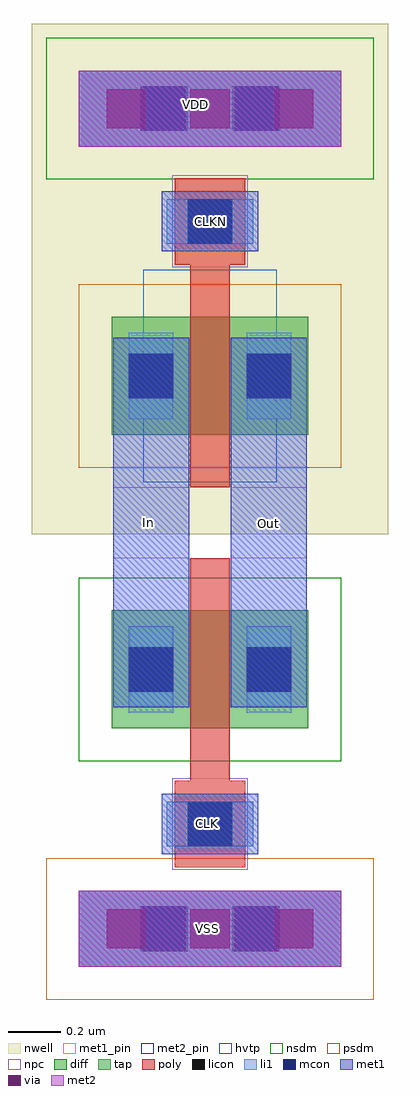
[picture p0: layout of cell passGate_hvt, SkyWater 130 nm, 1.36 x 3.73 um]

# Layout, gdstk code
import gdstk
lib = gdstk.Library(unit=1e-6, precision=1e-09)
def R(c, l, rs):  # rectangles x0, y0, x1, y1
    for r in rs: c.add(gdstk.rectangle(r[:2], r[2:], *l))
def A(c, l, x, y, w, h, nx, ny, dx, dy):  # array of equal rectangles
    R(c, l, [(x+i*dx, y+j*dy, x+i*dx+w, y+j*dy+h) for i in range(nx) for j in range(ny)])
nwell = (64, 20)
diff = (65, 20)
tap = (65, 44)
poly = (66, 20)
licon = (66, 44)
li1 = (67, 20)
mcon = (67, 44)
met1_pin = (68, 16)
met1 = (68, 20)
via = (68, 44)
met2_pin = (69, 16)
met2 = (69, 20)
hvtp = (78, 44)
nsdm = (93, 44)
psdm = (94, 20)
npc = (95, 20)

nfet = lib.new_cell('nfet')
R(nfet, diff, [(0,0,0.75,0.45)])
R(nfet, poly, [(0.24,-0.53,0.51,-0.2), (0.3,-0.2,0.45,0.65)])
R(nfet, licon, [(0.29,-0.45,0.46,-0.28), (0.065,0.14,0.235,0.31), (0.515,0.14,0.685,0.31)])
R(nfet, li1, [(0.21,-0.45,0.54,-0.28), (0.065,0.06,0.235,0.39), (0.515,0.06,0.685,0.39)])
R(nfet, mcon, [(0.29,-0.45,0.46,-0.28), (0.065,0.14,0.235,0.31), (0.515,0.14,0.685,0.31)])
R(nfet, met1, [(0.19,-0.48,0.56,-0.25), (0.005,0.08,0.295,0.37), (0.455,0.08,0.745,0.37)])
R(nfet, nsdm, [(-0.125,-0.125,0.875,0.575)])
R(nfet, npc, [(0.23,-0.54,0.52,-0.19)])

pfet = lib.new_cell('pfet')
R(pfet, nwell, [(-0.305,-0.38,1.055,1.17)])
R(pfet, diff, [(0,0,0.75,0.45)])
R(pfet, poly, [(0.3,-0.2,0.45,0.65), (0.24,0.65,0.51,0.98)])
R(pfet, licon, [(0.065,0.14,0.235,0.31), (0.515,0.14,0.685,0.31), (0.29,0.73,0.46,0.9)])
R(pfet, li1, [(0.065,0.06,0.235,0.39), (0.515,0.06,0.685,0.39), (0.21,0.73,0.54,0.9)])
R(pfet, mcon, [(0.065,0.14,0.235,0.31), (0.515,0.14,0.685,0.31), (0.29,0.73,0.46,0.9)])
R(pfet, met1, [(0.005,0.08,0.295,0.37), (0.455,0.08,0.745,0.37), (0.19,0.7,0.56,0.93)])
R(pfet, hvtp, [(0.12,-0.18,0.63,0.63)])
R(pfet, psdm, [(-0.125,-0.125,0.875,0.575)])
R(pfet, npc, [(0.23,0.64,0.52,0.99)])

vias_gen_4 = lib.new_cell('vias_gen$4')
R(vias_gen_4, nwell, [(-0.18,-0.18,1.18,0.47)])
R(vias_gen_4, tap, [(0,0,1,0.29)])
R(vias_gen_4, licon, [(0.245,0.06,0.415,0.23), (0.585,0.06,0.755,0.23)])
R(vias_gen_4, li1, [(0,0,1,0.29)])
R(vias_gen_4, mcon, [(0.235,0.06,0.405,0.23), (0.595,0.06,0.765,0.23)])
R(vias_gen_4, met1, [(0,0,1,0.29)])
A(vias_gen_4, via, 0.105, 0.07, 0.15, 0.15, 3, 1, 0.32, 0)
R(vias_gen_4, met2, [(0,0,1,0.29)])
R(vias_gen_4, nsdm, [(-0.125,-0.125,1.125,0.415)])

vias_gen_7 = lib.new_cell('vias_gen$7')
R(vias_gen_7, tap, [(0,0,1,0.29)])
R(vias_gen_7, licon, [(0.245,0.06,0.415,0.23), (0.585,0.06,0.755,0.23)])
R(vias_gen_7, li1, [(0,0,1,0.29)])
R(vias_gen_7, mcon, [(0.235,0.06,0.405,0.23), (0.595,0.06,0.765,0.23)])
R(vias_gen_7, met1, [(0,0,1,0.29)])
A(vias_gen_7, via, 0.105, 0.07, 0.15, 0.15, 3, 1, 0.32, 0)
R(vias_gen_7, met2, [(0,0,1,0.29)])
R(vias_gen_7, psdm, [(-0.125,-0.125,1.125,0.415)])

passgate_hvt = lib.new_cell('passGate_hvt')
R(passgate_hvt, met1_pin, [(0.33,-0.165,0.7,0.065), (0.145,0.965,0.435,1.235), (0.595,0.965,0.885,1.235), (0.33,2.135,0.7,2.365)])
R(passgate_hvt, met1, [(0.145,0.395,0.435,1.805), (0.595,0.395,0.885,1.805)])
R(passgate_hvt, met2_pin, [(0.015,-0.595,1.015,-0.305), (0.015,2.535,1.015,2.825)])
passgate_hvt.add(gdstk.Reference(nfet, (0.14,0.315)))
passgate_hvt.add(gdstk.Reference(pfet, (0.14,1.435)))
passgate_hvt.add(gdstk.Reference(vias_gen_4, (0.015,2.535)))
passgate_hvt.add(gdstk.Reference(vias_gen_7, (0.015,-0.595)))
passgate_hvt.add(gdstk.Label('VDD', (0.46,2.695), layer=69, texttype=5))
passgate_hvt.add(gdstk.Label('VSS', (0.505,-0.45), layer=69, texttype=5))
passgate_hvt.add(gdstk.Label('In', (0.28,1.1), layer=68, texttype=5))
passgate_hvt.add(gdstk.Label('Out', (0.74,1.095), layer=68, texttype=5))
passgate_hvt.add(gdstk.Label('CLK', (0.505,-0.05), layer=68, texttype=5))
passgate_hvt.add(gdstk.Label('CLKN', (0.515,2.25), layer=68, texttype=5))

lib.write_gds('passGate_hvt.gds')
